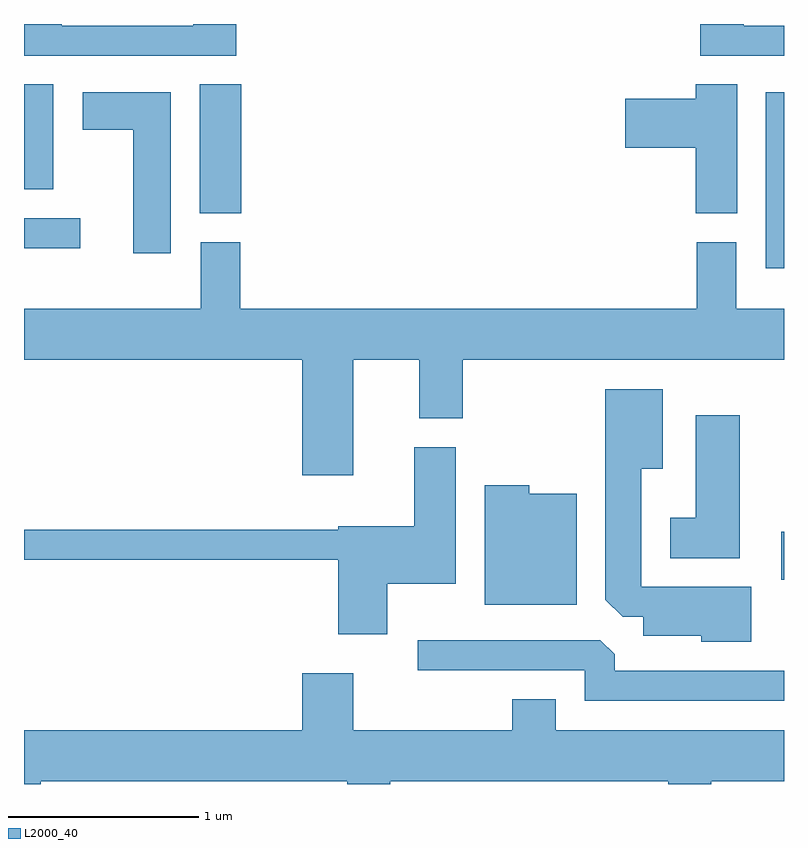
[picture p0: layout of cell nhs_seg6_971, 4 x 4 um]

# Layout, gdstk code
import gdstk
lib = gdstk.Library(unit=1e-6, precision=1e-09)
def R(c, l, rs):  # rectangles x0, y0, x1, y1
    for r in rs: c.add(gdstk.rectangle(r[:2], r[2:], *l))
def P(c, l, *ps):  # polygons
    for p in ps: c.add(gdstk.Polygon(p, *l))
L2000_40 = (2000, 40)

nhs_seg6_971 = lib.new_cell('nhs_seg6_971')
R(nhs_seg6_971, L2000_40, [(217.596,1633.236,217.611,1633.489), (217.516,1634.876,217.611,1635.804), (213.611,1634.981,213.908,1635.139), (214.536,1635.166,214.754,1635.844), (213.611,1635.291,213.764,1635.844)])
P(nhs_seg6_971, L2000_40, [(214.729,1636.162),(214.501,1636.162),(214.501,1636.154),(213.809,1636.154),(213.809,1636.162),(213.611,1636.162),(213.611,1635.996),(214.729,1635.996)],
  [(217.611,1636.154),(217.399,1636.154),(217.399,1636.162),(217.171,1636.162),(217.171,1635.996),(217.611,1635.996)],
  [(217.364,1635.844),(217.146,1635.844),(217.146,1635.769),(216.776,1635.769),(216.776,1635.511),(217.146,1635.511),(217.146,1635.166),(217.364,1635.166)],
  [(214.384,1635.804),(213.921,1635.804),(213.921,1635.606),(214.186,1635.606),(214.186,1634.956),(214.384,1634.956)],
  [(215.344,1634.396),(215.691,1634.396),(215.691,1634.086),(215.919,1634.086),(215.919,1634.396),(217.611,1634.396),(217.611,1634.664),(217.359,1634.664),(217.359,1635.014),(217.151,1635.014),(217.151,1634.664),(214.749,1634.664),(214.749,1635.014),(214.541,1635.014),(214.541,1634.664),(213.611,1634.664),(213.611,1634.396),(215.076,1634.396),(215.076,1633.786),(215.344,1633.786)],
  [(217.439,1633.199),(216.859,1633.199),(216.859,1633.821),(216.974,1633.821),(216.974,1634.239),(216.671,1634.239),(216.671,1633.132),(216.762,1633.041),(216.871,1633.041),(216.871,1632.941),(217.176,1632.941),(217.176,1632.911),(217.439,1632.911)],
  [(217.379,1634.104),(217.146,1634.104),(217.146,1633.564),(217.011,1633.564),(217.011,1633.351),(217.379,1633.351)],
  [(215.524,1633.216),(215.884,1633.216),(215.884,1633.934),(215.666,1633.934),(215.666,1633.519),(215.266,1633.519),(215.266,1633.499),(213.611,1633.499),(213.611,1633.341),(215.266,1633.341),(215.266,1632.951),(215.524,1632.951)],
  [(216.519,1633.689),(216.269,1633.689),(216.269,1633.734),(216.036,1633.734),(216.036,1633.106),(216.519,1633.106)],
  [(217.611,1632.759),(216.719,1632.759),(216.719,1632.844),(216.644,1632.919),(215.683,1632.919),(215.683,1632.761),(216.561,1632.761),(216.561,1632.601),(217.611,1632.601)],
  [(213.699,1632.176),(215.311,1632.176),(215.311,1632.162),(215.539,1632.162),(215.539,1632.176),(217.001,1632.176),(217.001,1632.162),(217.229,1632.162),(217.229,1632.176),(217.611,1632.176),(217.611,1632.444),(216.409,1632.444),(216.409,1632.609),(216.181,1632.609),(216.181,1632.444),(215.344,1632.444),(215.344,1632.744),(215.076,1632.744),(215.076,1632.444),(213.611,1632.444),(213.611,1632.162),(213.699,1632.162)])

lib.write_gds('nhs_seg6_971.gds')
